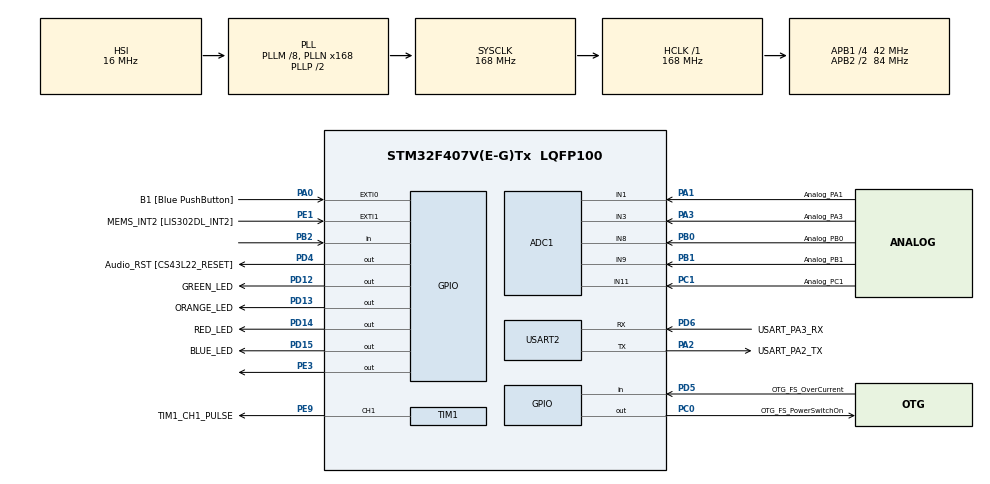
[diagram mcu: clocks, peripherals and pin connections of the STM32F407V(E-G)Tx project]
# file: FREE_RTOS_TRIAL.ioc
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ADC1.Channel-0\#ChannelRegularConversion=ADC_CHANNEL_1
ADC1.Channel-10\#ChannelRegularConversion=ADC_CHANNEL_8
ADC1.Channel-11\#ChannelRegularConversion=ADC_CHANNEL_9
ADC1.Channel-12\#ChannelRegularConversion=ADC_CHANNEL_11
ADC1.Channel-9\#ChannelRegularConversion=ADC_CHANNEL_3
ADC1.EOCSelection=ADC_EOC_SINGLE_CONV
ADC1.EnableAnalogWatchDog=false
ADC1.ExternalTrigConv=ADC_EXTERNALTRIGCONV_T1_CC1
ADC1.InjNumberOfConversion=0
ADC1.NbrOfConversion=5
ADC1.NbrOfConversionFlag=1
ADC1.Rank-0\#ChannelRegularConversion=1
ADC1.Rank-10\#ChannelRegularConversion=3
ADC1.Rank-11\#ChannelRegularConversion=4
ADC1.Rank-12\#ChannelRegularConversion=5
ADC1.Rank-9\#ChannelRegularConversion=2
ADC1.SamplingTime-0\#ChannelRegularConversion=ADC_SAMPLETIME_3CYCLES
ADC1.SamplingTime-10\#ChannelRegularConversion=ADC_SAMPLETIME_3CYCLES
ADC1.SamplingTime-11\#ChannelRegularConversion=ADC_SAMPLETIME_3CYCLES
ADC1.SamplingTime-12\#ChannelRegularConversion=ADC_SAMPLETIME_3CYCLES
ADC1.SamplingTime-9\#ChannelRegularConversion=ADC_SAMPLETIME_3CYCLES
ADC1.ScanConvMode=ENABLE
ADC1.master=1
Mcu.Family=STM32F4
Mcu.Name=STM32F407V(E-G)Tx
Mcu.Package=LQFP100
NVIC.ADC_IRQn=true\:0\:0\:false\:false\:true\:true\:true\:true
NVIC.EXTI0_IRQn=true\:5\:0\:true\:false\:true\:true\:true\:true
NVIC.PriorityGroup=NVIC_PRIORITYGROUP_4
NVIC.TIM1_CC_IRQn=true\:4\:0\:true\:false\:true\:true\:true\:true
NVIC.TIM6_DAC_IRQn=true\:15\:0\:true\:false\:true\:false\:true\:true
NVIC.TimeBase=TIM6_DAC_IRQn
NVIC.TimeBaseIP=TIM6
NVIC.USART2_IRQn=true\:0\:0\:false\:false\:true\:true\:true\:true
PA0-WKUP.GPIO_Label=B1 [Blue PushButton]
PA0-WKUP.Signal=GPXTI0
PA1.GPIO_Label=Analog_PA1
PA1.Signal=ADCx_IN1
PA10.GPIO_Label=OTG_FS_ID
PA10.GPIO_Mode=GPIO_MODE_AF_PP
PA10.GPIO_PuPd=GPIO_NOPULL
PA10.GPIO_Speed=GPIO_SPEED_FREQ_LOW
PA10.Signal=USB_OTG_FS_ID
PA11.GPIO_Label=OTG_FS_DM
PA11.GPIO_Mode=GPIO_MODE_AF_PP
PA11.GPIO_PuPd=GPIO_NOPULL
PA11.GPIO_Speed=GPIO_SPEED_FREQ_LOW
PA11.Signal=USB_OTG_FS_DM
PA12.GPIO_Label=OTG_FS_DP
PA12.GPIO_Mode=GPIO_MODE_AF_PP
PA12.GPIO_PuPd=GPIO_NOPULL
PA12.GPIO_Speed=GPIO_SPEED_FREQ_LOW
PA12.Signal=USB_OTG_FS_DP
PA13.GPIO_Label=SWDIO
PA13.Mode=Trace_Asynchronous_SW
PA13.Signal=SYS_JTMS-SWDIO
PA14.GPIO_Label=SWCLK
PA14.Mode=Trace_Asynchronous_SW
PA14.Signal=SYS_JTCK-SWCLK
PA2.GPIO_Label=USART_PA2_TX
PA2.Mode=Asynchronous
PA2.Signal=USART2_TX
PA3.GPIO_Label=Analog_PA3
PA3.Signal=ADCx_IN3
PA4.GPIO_Label=I2S3_WS [CS43L22_LRCK]
PA4.GPIO_Mode=GPIO_MODE_AF_PP
PA4.GPIO_PuPd=GPIO_NOPULL
PA4.GPIO_Speed=GPIO_SPEED_FREQ_LOW
PA4.Signal=I2S3_WS
PA5.GPIO_Label=SPI1_SCK [LIS302DL_SCL/SPC]
PA5.GPIO_Mode=GPIO_MODE_AF_PP
PA5.GPIO_PuPd=GPIO_NOPULL
PA5.GPIO_Speed=GPIO_SPEED_FREQ_LOW
PA5.Signal=SPI1_SCK
PA6.GPIO_Label=SPI1_MISO [LIS302DL_SDO]
PA6.GPIO_Mode=GPIO_MODE_AF_PP
PA6.GPIO_PuPd=GPIO_NOPULL
PA6.GPIO_Speed=GPIO_SPEED_FREQ_LOW
PA6.Signal=SPI1_MISO
PA7.GPIO_Label=SPI1_MOSI [LIS302DL_SDA/SDI/SDO]
PA7.GPIO_Mode=GPIO_MODE_AF_PP
PA7.GPIO_PuPd=GPIO_NOPULL
PA7.GPIO_Speed=GPIO_SPEED_FREQ_LOW
PA7.Signal=SPI1_MOSI
PA9.GPIO_Label=VBUS_FS
PA9.GPIO_Mode=GPIO_MODE_INPUT
PA9.GPIO_PuPd=GPIO_NOPULL
PA9.Signal=USB_OTG_FS_VBUS
PB0.GPIO_Label=Analog_PB0
PB0.Signal=ADCx_IN8
PB1.GPIO_Label=Analog_PB1
PB1.Signal=ADCx_IN9
PB10.GPIO_Label=CLK_IN [MP45DT02_CLK]
PB10.GPIO_Mode=GPIO_MODE_AF_PP
PB10.GPIO_PuPd=GPIO_NOPULL
PB10.GPIO_Speed=GPIO_SPEED_FREQ_LOW
PB10.Signal=I2S2_CK
PB2.Signal=GPIO_Input
PB3.GPIO_Label=SWO
PB3.Mode=Trace_Asynchronous_SW
PB3.Signal=SYS_JTDO-SWO
PB6.GPIO_Label=Audio_SCL [CS43L22_SCL]
PB6.GPIO_Mode=GPIO_MODE_AF_OD
PB6.GPIO_PuPd=GPIO_NOPULL
PB6.GPIO_Speed=GPIO_SPEED_FREQ_LOW
PB6.Signal=I2C1_SCL
PB9.GPIO_Label=Audio_SDA [CS43L22_SDA]
PB9.GPIO_Mode=GPIO_MODE_AF_OD
PB9.GPIO_PuPd=GPIO_NOPULL
PB9.GPIO_Speed=GPIO_SPEED_FREQ_LOW
PB9.Signal=I2C1_SDA
PC0.GPIO_Label=OTG_FS_PowerSwitchOn
PC0.GPIO_PuPd=GPIO_NOPULL
PC0.GPIO_Speed=GPIO_SPEED_FREQ_LOW
PC0.PinState=GPIO_PIN_SET
PC0.Signal=GPIO_Output
PC1.GPIO_Label=Analog_PC1
PC1.Signal=ADCx_IN11
PC10.GPIO_Label=I2S3_SCK [CS43L22_SCLK]
PC10.GPIO_Mode=GPIO_MODE_AF_PP
PC10.GPIO_PuPd=GPIO_NOPULL
PC10.GPIO_Speed=GPIO_SPEED_FREQ_LOW
PC10.Signal=I2S3_CK
PC12.GPIO_Label=I2S3_SD [CS43L22_SDIN]
PC12.GPIO_Mode=GPIO_MODE_AF_PP
PC12.GPIO_PuPd=GPIO_NOPULL
PC12.GPIO_Speed=GPIO_SPEED_FREQ_LOW
PC12.Signal=I2S3_SD
PC14-OSC32_IN.GPIO_Label=PC14-OSC32_IN
PC14-OSC32_IN.Signal=RCC_OSC32_IN
PC15-OSC32_OUT.GPIO_Label=PC15-OSC32_OUT
PC15-OSC32_OUT.Signal=RCC_OSC32_OUT
PC3.GPIO_Label=PDM_OUT [MP45DT02_DOUT]
PC3.GPIO_Mode=GPIO_MODE_AF_PP
PC3.GPIO_PuPd=GPIO_NOPULL
PC3.GPIO_Speed=GPIO_SPEED_FREQ_LOW
PC3.Signal=I2S2_SD
PC7.GPIO_Label=I2S3_MCK [CS43L22_MCLK]
PC7.GPIO_Mode=GPIO_MODE_AF_PP
PC7.GPIO_PuPd=GPIO_NOPULL
PC7.GPIO_Speed=GPIO_SPEED_FREQ_LOW
PC7.Signal=I2S3_MCK
PD12.GPIO_Label=GREEN_LED
PD12.GPIO_PuPd=GPIO_NOPULL
PD12.GPIO_Speed=GPIO_SPEED_FREQ_LOW
PD12.Signal=GPIO_Output
PD13.GPIO_Label=ORANGE_LED
PD13.GPIO_PuPd=GPIO_NOPULL
PD13.GPIO_Speed=GPIO_SPEED_FREQ_LOW
PD13.Signal=GPIO_Output
PD14.GPIO_Label=RED_LED
PD14.GPIO_PuPd=GPIO_NOPULL
PD14.GPIO_Speed=GPIO_SPEED_FREQ_LOW
PD14.Signal=GPIO_Output
PD15.GPIO_Label=BLUE_LED
PD15.GPIO_PuPd=GPIO_NOPULL
PD15.GPIO_Speed=GPIO_SPEED_FREQ_LOW
PD15.Signal=GPIO_Output
PD4.GPIO_Label=Audio_RST [CS43L22_RESET]
PD4.GPIO_PuPd=GPIO_NOPULL
PD4.GPIO_Speed=GPIO_SPEED_FREQ_LOW
PD4.Signal=GPIO_Output
PD5.GPIO_Label=OTG_FS_OverCurrent
PD5.GPIO_Mode=GPIO_MODE_INPUT
PD5.GPIO_PuPd=GPIO_NOPULL
PD5.Signal=GPIO_Input
PD6.GPIO_Label=USART_PA3_RX
PD6.Mode=Asynchronous
PD6.Signal=USART2_RX
PE1.GPIO_Label=MEMS_INT2 [LIS302DL_INT2]
PE1.GPIO_ModeDefaultEXTI=GPIO_MODE_EVT_RISING
PE1.GPIO_PuPd=GPIO_NOPULL
PE1.Signal=GPXTI1
PE3.Signal=GPIO_Output
PE9.GPIO_Label=TIM1_CH1_PULSE
PE9.Signal=S_TIM1_CH1
PH0-OSC_IN.GPIO_Label=PH0-OSC_IN
PH0-OSC_IN.Signal=RCC_OSC_IN
PH1-OSC_OUT.GPIO_Label=PH1-OSC_OUT
PH1-OSC_OUT.Signal=RCC_OSC_OUT
ProjectManager.HeapSize=0x200
ProjectManager.StackSize=0x400
ProjectManager.TargetToolchain=MDK-ARM V5.32
RCC.48MHZClocksFreq_Value=48000000
RCC.AHBFreq_Value=168000000
RCC.APB1CLKDivider=RCC_HCLK_DIV4
RCC.APB1Freq_Value=42000000
RCC.APB1TimFreq_Value=84000000
RCC.APB2CLKDivider=RCC_HCLK_DIV2
RCC.APB2Freq_Value=84000000
RCC.APB2TimFreq_Value=168000000
RCC.CortexFreq_Value=168000000
RCC.HCLKFreq_Value=168000000
RCC.HSE_VALUE=8000000
RCC.HSI_VALUE=16000000
RCC.LSE_VALUE=32768
RCC.PLLM=8
RCC.PLLN=168
RCC.PLLQ=7
RCC.SYSCLKFreq_VALUE=168000000
RCC.SYSCLKSource=RCC_SYSCLKSOURCE_PLLCLK
RCC.VCOOutputFreq_Value=336000000
SH.ADCx_IN1.0=ADC1_IN1,IN1
SH.ADCx_IN11.0=ADC1_IN11,IN11
SH.ADCx_IN3.0=ADC1_IN3,IN3
SH.ADCx_IN8.0=ADC1_IN8,IN8
SH.ADCx_IN9.0=ADC1_IN9,IN9
SH.S_TIM1_CH1.0=TIM1_CH1,Output Compare1 CH1
TIM1.Channel-Output\ Compare1\ CH1=TIM_CHANNEL_1
TIM1.OCMode_1=TIM_OCMODE_TOGGLE
TIM1.Period=10000
TIM1.Prescaler=84-1
TIM1.TIM_MasterOutputTrigger=TIM_TRGO_OC1REF
USART2.VirtualMode=VM_ASYNC
VP_SYS_VS_tim6.Mode=TIM6
board=STM32F407G-DISC1

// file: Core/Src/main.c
/* USER CODE BEGIN Header */
/**
  ******************************************************************************
  * @file           : main.c
  * @brief          : Main program body
  ******************************************************************************
  * @attention
  *
  * Copyright (c) 2025 STMicroelectronics.
  * All rights reserved.
  *
  * This software is licensed under terms that can be found in the LICENSE file
  * in the root directory of this software component.
  * If no LICENSE file comes with this software, it is provided AS-IS.
  *
  ******************************************************************************
  */
/* USER CODE END Header */
#include "main.h"

/* USER CODE BEGIN Includes */
// Standard includes
#include "stdio.h"
#include "string.h"
#include "stdbool.h"
#include "stdlib.h"
// Project-related includes
#include "murmurhash.h"
#include "FreeRTOS.h"
#include "task.h"
#include "semphr.h"
#include "queue.h"
#include "sensor_data_acquisition_strategy.h"

/* USER CODE END Includes */

/* USER CODE BEGIN PD */
#define START_STACKING 0x2000A9D0
#define USE_FREERTOS

#define ACQUIRE_SPINLOCK(spin_lock_flag)  while(__atomic_test_and_set (&(spin_lock_flag), __ATOMIC_ACQUIRE)) {}
#define RELEASE_SPIN_LOCK(spin_lock_flag) __atomic_clear (&spin_lock_flag, __ATOMIC_RELEASE)

/* USER CODE END PD */

ADC_HandleTypeDef hadc1;

TIM_HandleTypeDef htim1;

UART_HandleTypeDef huart2;

/* USER CODE BEGIN PV */
char *msg1 = "Asif ikbalNigdi\r\n";
char *key = "abra ka dabra";
uint32_t seed = 0xABCDEF12;
static uint32_t hash;
uint8_t rxbyte[2];

volatile uint32_t atomic_counter = 0;
volatile uint32_t non_atomic_counter = 0;
volatile bool spin_lock_flag = 0;

//Testing uninitialized global pointer
uint32_t *pu32_test_global;

SemaphoreHandle_t xMutex;
SemaphoreHandle_t xPrintfMutex;

stCircuarQueue_t     st_Sensor_Data_Queue;
uint8_t              u8arr_packet [200]; // to acquire sensors data
/* USER CODE END PV */

void SystemClock_Config(void);
static void MX_GPIO_Init(void);
static void MX_USART2_UART_Init(void);
static void MX_ADC1_Init(void);
static void MX_TIM1_Init(void);
/* USER CODE BEGIN PFP */
void vTaskLow(void *pv);
void vTaskMedium(void *pv);
void vTaskHigh(void *pv);

void vTaskTest_1(void *pv);
void vTaskTest_2(void *pv);

void vTask_SpinLock_1 (void *pv);
void vTask_SpinLock_2 (void *pv);

void do_long_work_xsec(uint32_t x);
void check_stack_overflow_at75_watermark (void);
void create_stack_overflow (void);

void vTask_Broadcast_Sensors_Data (void *pv);
/* USER CODE END PFP */

/* USER CODE BEGIN 0 */
extern  uint32_t u32_atomic_inc(volatile uint32_t *addr);

/* USER CODE END 0 */

int main(void)
{

  /* USER CODE BEGIN 1 */
  //printf("In main\n");
  uint32_t *stack_start = (uint32_t*)START_STACKING;
  uint32_t *stack_watermark75_1KB = NULL;

	// Disable all maskable interrupts globally
  __disable_irq();

  stack_watermark75_1KB = stack_start - 192; // water mark at 75% of 1KB stack
  *stack_watermark75_1KB = 0xDEADBEEF;

	// Create mutex
  xMutex = xSemaphoreCreateMutex(); // Supports Priority Inheritance
  //xMutex = xSemaphoreCreateBinary(); // Does NOT supports Priority Inheritance

  if (xMutex == NULL)
  {
    // Error: not enough heap
    printf("Synchronization object (mutex/semaphore) not created!!\n");
    while(1);
  }

  // switch (xMutex->ucQueueType) // defined in queue.c thus cant not access member ofxMutex by forward definition.
  // {
  //   case queueQUEUE_TYPE_BINARY_SEMAPHORE:
  //     printf ("Binary semaphore created!\n");
  //     break;

  //   case queueQUEUE_TYPE_COUNTING_SEMAPHORE :
  //     printf ("Counting semaphore created!\n");
  //     break;

  //   case queueQUEUE_TYPE_MUTEX:
  //     printf ("Mutex created!\n");
  //     break;

  //   case queueQUEUE_TYPE_RECURSIVE_MUTEX:
  //     printf ("Recursive mutex created!\n");
  //     break;

  //   default:
  //     break;
  // }

  // Make the semaphore **available initially** -- Mutex is bydefault available
  // if (queueQUEUE_TYPE_BINARY_SEMAPHORE == xMutex->ucQueueType)
  // {
  //   xSemaphoreGive(xMutex);
  // }

  /* USER CODE END 1 */

  /* MCU Configuration--------------------------------------------------------*/

  /* Reset of all peripherals, Initializes the Flash interface and the Systick. */
  HAL_Init();

  /* Configure the system clock */
  SystemClock_Config();

  /* USER CODE BEGIN SysInit */
  printf("In main\n");

  /* USER CODE END SysInit */

  /* Initialize all configured peripherals */
  MX_GPIO_Init();
  MX_USART2_UART_Init();
  MX_ADC1_Init();
  MX_TIM1_Init();
  /* USER CODE BEGIN 2 */
	//HAL_UART_Receive_IT(&huart2, rxbyte, 2); // Notify me when ONE byte arrives into the RDR/DR register
	huart2.Instance->CR1 |= (USART_CR1_RE | USART_CR1_RXNEIE);

	// Atomic increment of variables
	u32_atomic_inc(&atomic_counter);

  // Initialize the sensor data acquisition circular queue
  v_Sensor_Data_Queue_Init ( &st_Sensor_Data_Queue );

	// Non-cryptographic hash function
	hash = murmurhash (key, strlen(key), seed);

	// Create FreeRTOS OBJECTS
	xPrintfMutex = xSemaphoreCreateMutex();

	// Tasks creation
  //  xTaskCreate(vTaskLow, "Low", 256, NULL, 1, NULL);
	//  xTaskCreate(vTaskMedium, "Med", 256, NULL, 2, NULL);
	//  xTaskCreate(vTaskHigh, "High", 256, NULL, 3, NULL);

   //xTaskCreate(vTaskTest_1, "vTaskTest_1", 256, NULL, 3, NULL);
   //xTaskCreate(vTaskTest_2, "vTaskTest_2", 256, NULL, 3, NULL);

   xTaskCreate(vTask_SpinLock_1, "vTask_SpinLock_1", 256, NULL, 1, NULL);
   xTaskCreate(vTask_SpinLock_2, "vTask_SpinLock_2", 256, NULL, 2, NULL);

   xTaskCreate(vTask_Broadcast_Sensors_Data, "vTask_Broadcast_Sensors_Data", 256, NULL, 2, NULL);

   // Re-enable all interrupts globally
   __enable_irq();

   // Application code
     //Testing uninitialized local pointer
  // uint32_t *pu32_test_local;
  // printf("Uninitialized local pointer pu32_test = %p\n", pu32_test_local);

  // printf("Uninitialized global pointer pu32_test = %p\n", pu32_test_global);

  // Allocate some memory dynamically
  // uint8_t *pu8_mem_alloc = (uint8_t*)malloc(10);
  // memset(pu8_mem_alloc, 0xAA, 10);
  // free (pu8_mem_alloc);

  // printf("Dynamically allocated memory address = %u\n", *pu8_mem_alloc);

  // pu8_mem_alloc = NULL;

  // printf("Dynamically allocated memory address = %u\n", *pu8_mem_alloc);

  // Start TIMER 1 in output compare (OC) mode
  HAL_TIM_OC_Start_IT (&htim1, TIM_CHANNEL_1);
  HAL_ADC_Start_IT (&hadc1);

	 // Start the FreeRTOS scheduler
	 //vTaskStartScheduler();

  /* USER CODE END 2 */

  /* Infinite loop */
  while (1)
  {

  }
}

void SystemClock_Config(void)
{
  RCC_OscInitTypeDef RCC_OscInitStruct = {0};
  RCC_ClkInitTypeDef RCC_ClkInitStruct = {0};

  /** Configure the main internal regulator output voltage
  */
  __HAL_RCC_PWR_CLK_ENABLE();
  __HAL_PWR_VOLTAGESCALING_CONFIG(PWR_REGULATOR_VOLTAGE_SCALE1);

  /** Initializes the RCC Oscillators according to the specified parameters
  * in the RCC_OscInitTypeDef structure.
  */
  RCC_OscInitStruct.OscillatorType = RCC_OSCILLATORTYPE_HSI;
  RCC_OscInitStruct.HSIState = RCC_HSI_ON;
  RCC_OscInitStruct.HSICalibrationValue = RCC_HSICALIBRATION_DEFAULT;
  RCC_OscInitStruct.PLL.PLLState = RCC_PLL_ON;
  RCC_OscInitStruct.PLL.PLLSource = RCC_PLLSOURCE_HSI;
  RCC_OscInitStruct.PLL.PLLM = 8;
  RCC_OscInitStruct.PLL.PLLN = 168;
  RCC_OscInitStruct.PLL.PLLP = RCC_PLLP_DIV2;
  RCC_OscInitStruct.PLL.PLLQ = 7;
  if (HAL_RCC_OscConfig(&RCC_OscInitStruct) != HAL_OK)
  {
    Error_Handler();
  }

  /** Initializes the CPU, AHB and APB buses clocks
  */
  RCC_ClkInitStruct.ClockType = RCC_CLOCKTYPE_HCLK|RCC_CLOCKTYPE_SYSCLK
                              |RCC_CLOCKTYPE_PCLK1|RCC_CLOCKTYPE_PCLK2;
  RCC_ClkInitStruct.SYSCLKSource = RCC_SYSCLKSOURCE_PLLCLK;
  RCC_ClkInitStruct.AHBCLKDivider = RCC_SYSCLK_DIV1;
  RCC_ClkInitStruct.APB1CLKDivider = RCC_HCLK_DIV4;
  RCC_ClkInitStruct.APB2CLKDivider = RCC_HCLK_DIV2;

  if (HAL_RCC_ClockConfig(&RCC_ClkInitStruct, FLASH_LATENCY_5) != HAL_OK)
  {
    Error_Handler();
  }
}

static void MX_ADC1_Init(void)
{

  ADC_ChannelConfTypeDef sConfig = {0};

  /** Configure the global features of the ADC (Clock, Resolution, Data Alignment and number of conversion)
  */
  hadc1.Instance = ADC1;
  hadc1.Init.ClockPrescaler = ADC_CLOCK_SYNC_PCLK_DIV4;
  hadc1.Init.Resolution = ADC_RESOLUTION_12B;
  hadc1.Init.ScanConvMode = ENABLE;
  hadc1.Init.ContinuousConvMode = DISABLE;
  hadc1.Init.DiscontinuousConvMode = DISABLE;
  hadc1.Init.ExternalTrigConvEdge = ADC_EXTERNALTRIGCONVEDGE_RISING;
  hadc1.Init.ExternalTrigConv = ADC_EXTERNALTRIGCONV_T1_CC1;
  hadc1.Init.DataAlign = ADC_DATAALIGN_RIGHT;
  hadc1.Init.NbrOfConversion = 5;
  hadc1.Init.DMAContinuousRequests = DISABLE;
  hadc1.Init.EOCSelection = ADC_EOC_SINGLE_CONV;
  if (HAL_ADC_Init(&hadc1) != HAL_OK)
  {
    Error_Handler();
  }

  /** Configure for the selected ADC regular channel its corresponding rank in the sequencer and its sample time.
  */
  sConfig.Channel = ADC_CHANNEL_1;
  sConfig.Rank = 1;
  sConfig.SamplingTime = ADC_SAMPLETIME_3CYCLES;
  if (HAL_ADC_ConfigChannel(&hadc1, &sConfig) != HAL_OK)
  {
    Error_Handler();
  }

  /** Configure for the selected ADC regular channel its corresponding rank in the sequencer and its sample time.
  */
  sConfig.Channel = ADC_CHANNEL_3;
  sConfig.Rank = 2;
  if (HAL_ADC_ConfigChannel(&hadc1, &sConfig) != HAL_OK)
  {
    Error_Handler();
  }

  /** Configure for the selected ADC regular channel its corresponding rank in the sequencer and its sample time.
  */
  sConfig.Channel = ADC_CHANNEL_8;
  sConfig.Rank = 3;
  if (HAL_ADC_ConfigChannel(&hadc1, &sConfig) != HAL_OK)
  {
    Error_Handler();
  }

  /** Configure for the selected ADC regular channel its corresponding rank in the sequencer and its sample time.
  */
  sConfig.Channel = ADC_CHANNEL_9;
  sConfig.Rank = 4;
  if (HAL_ADC_ConfigChannel(&hadc1, &sConfig) != HAL_OK)
  {
    Error_Handler();
  }

  /** Configure for the selected ADC regular channel its corresponding rank in the sequencer and its sample time.
  */
  sConfig.Channel = ADC_CHANNEL_11;
  sConfig.Rank = 5;
  if (HAL_ADC_ConfigChannel(&hadc1, &sConfig) != HAL_OK)
  {
    Error_Handler();
  }

}

static void MX_TIM1_Init(void)
{

  TIM_MasterConfigTypeDef sMasterConfig = {0};
  TIM_OC_InitTypeDef sConfigOC = {0};
  TIM_BreakDeadTimeConfigTypeDef sBreakDeadTimeConfig = {0};

  htim1.Instance = TIM1;
  htim1.Init.Prescaler = 84-1;
  htim1.Init.CounterMode = TIM_COUNTERMODE_UP;
  htim1.Init.Period = 10000;
  htim1.Init.ClockDivision = TIM_CLOCKDIVISION_DIV1;
  htim1.Init.RepetitionCounter = 0;
  htim1.Init.AutoReloadPreload = TIM_AUTORELOAD_PRELOAD_DISABLE;
  if (HAL_TIM_OC_Init(&htim1) != HAL_OK)
  {
    Error_Handler();
  }
  sMasterConfig.MasterOutputTrigger = TIM_TRGO_OC1REF;
  sMasterConfig.MasterSlaveMode = TIM_MASTERSLAVEMODE_DISABLE;
  if (HAL_TIMEx_MasterConfigSynchronization(&htim1, &sMasterConfig) != HAL_OK)
  {
    Error_Handler();
  }
  sConfigOC.OCMode = TIM_OCMODE_TOGGLE;
  sConfigOC.Pulse = 0;
  sConfigOC.OCPolarity = TIM_OCPOLARITY_HIGH;
  sConfigOC.OCNPolarity = TIM_OCNPOLARITY_HIGH;
  sConfigOC.OCFastMode = TIM_OCFAST_DISABLE;
  sConfigOC.OCIdleState = TIM_OCIDLESTATE_RESET;
  sConfigOC.OCNIdleState = TIM_OCNIDLESTATE_RESET;
  if (HAL_TIM_OC_ConfigChannel(&htim1, &sConfigOC, TIM_CHANNEL_1) != HAL_OK)
  {
    Error_Handler();
  }
  sBreakDeadTimeConfig.OffStateRunMode = TIM_OSSR_DISABLE;
  sBreakDeadTimeConfig.OffStateIDLEMode = TIM_OSSI_DISABLE;
  sBreakDeadTimeConfig.LockLevel = TIM_LOCKLEVEL_OFF;
  sBreakDeadTimeConfig.DeadTime = 0;
  sBreakDeadTimeConfig.BreakState = TIM_BREAK_DISABLE;
  sBreakDeadTimeConfig.BreakPolarity = TIM_BREAKPOLARITY_HIGH;
  sBreakDeadTimeConfig.AutomaticOutput = TIM_AUTOMATICOUTPUT_DISABLE;
  if (HAL_TIMEx_ConfigBreakDeadTime(&htim1, &sBreakDeadTimeConfig) != HAL_OK)
  {
    Error_Handler();
  }
  HAL_TIM_MspPostInit(&htim1);

}

static void MX_USART2_UART_Init(void)
{

  huart2.Instance = USART2;
  huart2.Init.BaudRate = 115200;
  huart2.Init.WordLength = UART_WORDLENGTH_8B;
  huart2.Init.StopBits = UART_STOPBITS_1;
  huart2.Init.Parity = UART_PARITY_NONE;
  huart2.Init.Mode = UART_MODE_TX_RX;
  huart2.Init.HwFlowCtl = UART_HWCONTROL_NONE;
  huart2.Init.OverSampling = UART_OVERSAMPLING_16;
  if (HAL_UART_Init(&huart2) != HAL_OK)
  {
    Error_Handler();
  }

}

static void MX_GPIO_Init(void)
{
  GPIO_InitTypeDef GPIO_InitStruct = {0};

  /* GPIO Ports Clock Enable */
  __HAL_RCC_GPIOE_CLK_ENABLE();
  __HAL_RCC_GPIOC_CLK_ENABLE();
  __HAL_RCC_GPIOH_CLK_ENABLE();
  __HAL_RCC_GPIOA_CLK_ENABLE();
  __HAL_RCC_GPIOB_CLK_ENABLE();
  __HAL_RCC_GPIOD_CLK_ENABLE();

  /*Configure GPIO pin Output Level */
  HAL_GPIO_WritePin(GPIOE, GPIO_PIN_3, GPIO_PIN_RESET);

  /*Configure GPIO pin Output Level */
  HAL_GPIO_WritePin(OTG_FS_PowerSwitchOn_GPIO_Port, OTG_FS_PowerSwitchOn_Pin, GPIO_PIN_SET);

  /*Configure GPIO pin Output Level */
  HAL_GPIO_WritePin(GPIOD, GREEN_LED_Pin|ORANGE_LED_Pin|RED_LED_Pin|BLUE_LED_Pin
                          |Audio_RST_Pin, GPIO_PIN_RESET);

  /*Configure GPIO pin : PE3 */
  GPIO_InitStruct.Pin = GPIO_PIN_3;
  GPIO_InitStruct.Mode = GPIO_MODE_OUTPUT_PP;
  GPIO_InitStruct.Pull = GPIO_NOPULL;
  GPIO_InitStruct.Speed = GPIO_SPEED_FREQ_LOW;
  HAL_GPIO_Init(GPIOE, &GPIO_InitStruct);

  /*Configure GPIO pin : OTG_FS_PowerSwitchOn_Pin */
  GPIO_InitStruct.Pin = OTG_FS_PowerSwitchOn_Pin;
  GPIO_InitStruct.Mode = GPIO_MODE_OUTPUT_PP;
  GPIO_InitStruct.Pull = GPIO_NOPULL;
  GPIO_InitStruct.Speed = GPIO_SPEED_FREQ_LOW;
  HAL_GPIO_Init(OTG_FS_PowerSwitchOn_GPIO_Port, &GPIO_InitStruct);

  /*Configure GPIO pin : PDM_OUT_Pin */
  GPIO_InitStruct.Pin = PDM_OUT_Pin;
  GPIO_InitStruct.Mode = GPIO_MODE_AF_PP;
  GPIO_InitStruct.Pull = GPIO_NOPULL;
  GPIO_InitStruct.Speed = GPIO_SPEED_FREQ_LOW;
  GPIO_InitStruct.Alternate = GPIO_AF5_SPI2;
  HAL_GPIO_Init(PDM_OUT_GPIO_Port, &GPIO_InitStruct);

  /*Configure GPIO pin : B1_Pin */
  GPIO_InitStruct.Pin = B1_Pin;
  GPIO_InitStruct.Mode = GPIO_MODE_IT_RISING;
  GPIO_InitStruct.Pull = GPIO_NOPULL;
  HAL_GPIO_Init(B1_GPIO_Port, &GPIO_InitStruct);

  /*Configure GPIO pin : I2S3_WS_Pin */
  GPIO_InitStruct.Pin = I2S3_WS_Pin;
  GPIO_InitStruct.Mode = GPIO_MODE_AF_PP;
  GPIO_InitStruct.Pull = GPIO_NOPULL;
  GPIO_InitStruct.Speed = GPIO_SPEED_FREQ_LOW;
  GPIO_InitStruct.Alternate = GPIO_AF6_SPI3;
  HAL_GPIO_Init(I2S3_WS_GPIO_Port, &GPIO_InitStruct);

  /*Configure GPIO pins : SPI1_SCK_Pin SPI1_MISO_Pin SPI1_MOSI_Pin */
  GPIO_InitStruct.Pin = SPI1_SCK_Pin|SPI1_MISO_Pin|SPI1_MOSI_Pin;
  GPIO_InitStruct.Mode = GPIO_MODE_AF_PP;
  GPIO_InitStruct.Pull = GPIO_NOPULL;
  GPIO_InitStruct.Speed = GPIO_SPEED_FREQ_LOW;
  GPIO_InitStruct.Alternate = GPIO_AF5_SPI1;
  HAL_GPIO_Init(GPIOA, &GPIO_InitStruct);

  /*Configure GPIO pin : PB2 */
  GPIO_InitStruct.Pin = GPIO_PIN_2;
  GPIO_InitStruct.Mode = GPIO_MODE_INPUT;
  GPIO_InitStruct.Pull = GPIO_NOPULL;
  HAL_GPIO_Init(GPIOB, &GPIO_InitStruct);

  /*Configure GPIO pin : CLK_IN_Pin */
  GPIO_InitStruct.Pin = CLK_IN_Pin;
  GPIO_InitStruct.Mode = GPIO_MODE_AF_PP;
  GPIO_InitStruct.Pull = GPIO_NOPULL;
  GPIO_InitStruct.Speed = GPIO_SPEED_FREQ_LOW;
  GPIO_InitStruct.Alternate = GPIO_AF5_SPI2;
  HAL_GPIO_Init(CLK_IN_GPIO_Port, &GPIO_InitStruct);

  /*Configure GPIO pins : GREEN_LED_Pin ORANGE_LED_Pin RED_LED_Pin BLUE_LED_Pin
                           Audio_RST_Pin */
  GPIO_InitStruct.Pin = GREEN_LED_Pin|ORANGE_LED_Pin|RED_LED_Pin|BLUE_LED_Pin
                          |Audio_RST_Pin;
  GPIO_InitStruct.Mode = GPIO_MODE_OUTPUT_PP;
  GPIO_InitStruct.Pull = GPIO_NOPULL;
  GPIO_InitStruct.Speed = GPIO_SPEED_FREQ_LOW;
  HAL_GPIO_Init(GPIOD, &GPIO_InitStruct);

  /*Configure GPIO pins : I2S3_MCK_Pin I2S3_SCK_Pin I2S3_SD_Pin */
  GPIO_InitStruct.Pin = I2S3_MCK_Pin|I2S3_SCK_Pin|I2S3_SD_Pin;
  GPIO_InitStruct.Mode = GPIO_MODE_AF_PP;
  GPIO_InitStruct.Pull = GPIO_NOPULL;
  GPIO_InitStruct.Speed = GPIO_SPEED_FREQ_LOW;
  GPIO_InitStruct.Alternate = GPIO_AF6_SPI3;
  HAL_GPIO_Init(GPIOC, &GPIO_InitStruct);

  /*Configure GPIO pin : VBUS_FS_Pin */
  GPIO_InitStruct.Pin = VBUS_FS_Pin;
  GPIO_InitStruct.Mode = GPIO_MODE_INPUT;
  GPIO_InitStruct.Pull = GPIO_NOPULL;
  HAL_GPIO_Init(VBUS_FS_GPIO_Port, &GPIO_InitStruct);

  /*Configure GPIO pins : OTG_FS_ID_Pin OTG_FS_DM_Pin OTG_FS_DP_Pin */
  GPIO_InitStruct.Pin = OTG_FS_ID_Pin|OTG_FS_DM_Pin|OTG_FS_DP_Pin;
  GPIO_InitStruct.Mode = GPIO_MODE_AF_PP;
  GPIO_InitStruct.Pull = GPIO_NOPULL;
  GPIO_InitStruct.Speed = GPIO_SPEED_FREQ_LOW;
  GPIO_InitStruct.Alternate = GPIO_AF10_OTG_FS;
  HAL_GPIO_Init(GPIOA, &GPIO_InitStruct);

  /*Configure GPIO pin : OTG_FS_OverCurrent_Pin */
  GPIO_InitStruct.Pin = OTG_FS_OverCurrent_Pin;
  GPIO_InitStruct.Mode = GPIO_MODE_INPUT;
  GPIO_InitStruct.Pull = GPIO_NOPULL;
  HAL_GPIO_Init(OTG_FS_OverCurrent_GPIO_Port, &GPIO_InitStruct);

  /*Configure GPIO pins : Audio_SCL_Pin Audio_SDA_Pin */
  GPIO_InitStruct.Pin = Audio_SCL_Pin|Audio_SDA_Pin;
  GPIO_InitStruct.Mode = GPIO_MODE_AF_OD;
  GPIO_InitStruct.Pull = GPIO_NOPULL;
  GPIO_InitStruct.Speed = GPIO_SPEED_FREQ_LOW;
  GPIO_InitStruct.Alternate = GPIO_AF4_I2C1;
  HAL_GPIO_Init(GPIOB, &GPIO_InitStruct);

  /*Configure GPIO pin : MEMS_INT2_Pin */
  GPIO_InitStruct.Pin = MEMS_INT2_Pin;
  GPIO_InitStruct.Mode = GPIO_MODE_EVT_RISING;
  GPIO_InitStruct.Pull = GPIO_NOPULL;
  HAL_GPIO_Init(MEMS_INT2_GPIO_Port, &GPIO_InitStruct);

  /* EXTI interrupt init*/
  HAL_NVIC_SetPriority(EXTI0_IRQn, 5, 0);
  HAL_NVIC_EnableIRQ(EXTI0_IRQn);

}

/* USER CODE BEGIN 4 */
#ifdef USE_FREERTOS

/*------------------------------------------------------------------------------
**********   Different Tasks related to FreeRTOS Applications ******************
--------------------------------------------------------------------------------*/
void vTaskTest_1(void *pv)
{
    while(1)
    {
        // non_atomic_counter = non_atomic_counter + 1;
        atomic_counter = u32_atomic_inc(&atomic_counter);

				xSemaphoreTake(xPrintfMutex, portMAX_DELAY);
        // printf("T1 = %d\n", non_atomic_counter);
        printf("T1 = %d\n", atomic_counter);
				xSemaphoreGive(xPrintfMutex);
    }
}

void vTaskTest_2(void *pv)
{
    while(1)
    {
        //non_atomic_counter = non_atomic_counter + 1;
        atomic_counter = u32_atomic_inc(&atomic_counter);

				xSemaphoreTake(xPrintfMutex, portMAX_DELAY);
        //printf("T2 = %d\n", non_atomic_counter);
        printf("T2 = %d\n", atomic_counter);
			  xSemaphoreGive(xPrintfMutex);
    }
}

void vTaskLow(void *pv)
{
    while(1)
    {
        printf("Low: Going to take mutex\n");
        xSemaphoreTake(xMutex, portMAX_DELAY);
        printf("Low: Took mutex, doing long work\n");
        HAL_GPIO_TogglePin(ORANGE_LED_GPIO_Port, ORANGE_LED_Pin); // Orange LED

        // Simulate long operation
        //vTaskDelay(pdMS_TO_TICKS(3000));
        do_long_work_xsec(1u); // scheduler will not block this task (NOT GETTING cpu TO ELEAPSE THIS)

        printf("Low: Releasing mutex\n");
        xSemaphoreGive(xMutex);

        vTaskDelay(pdMS_TO_TICKS(1000));
    }
}

void vTaskMedium(void *pv)
{
    while(1)
    {
        printf("Medium: Running\n");
        // Busy loop to burn CPU
        //for (volatile uint32_t i = 0; i < 1000000; i++);
        HAL_GPIO_TogglePin(GREEN_LED_GPIO_Port, GREEN_LED_Pin); // Green LED
        vTaskDelay(pdMS_TO_TICKS(510));
    }
}

void vTaskHigh(void *pv)
{
    vTaskDelay(pdMS_TO_TICKS(500)); // Ensure Low holds mutex first

    while(1)
    {
      printf("High: Trying to take mutex\n");
      xSemaphoreTake(xMutex, portMAX_DELAY);
      printf("High: Took mutex\n");
      HAL_GPIO_TogglePin(RED_LED_GPIO_Port, RED_LED_Pin); // Red LED

      xSemaphoreGive(xMutex);
      printf("High: Released mutex\n");
      vTaskDelay(pdMS_TO_TICKS(1000));
    }

    while(1);
}

void vTask_SpinLock_1 (void *pv)
{
  while(1)
  {
    printf("SpinLock_Task_1 acquiring lock\n");
    ACQUIRE_SPINLOCK(spin_lock_flag);
    vTaskDelay(pdMS_TO_TICKS(50));
    printf("SpinLock_Task_1 releasing lock\n");
    RELEASE_SPIN_LOCK(spin_lock_flag);
  }

}

void vTask_SpinLock_2 (void *pv)
{

  while(1)
  {
    vTaskDelay(pdMS_TO_TICKS(5));
    printf("SpinLock_Task_2 acquiring lock\n");
    ACQUIRE_SPINLOCK(spin_lock_flag);
    vTaskDelay(pdMS_TO_TICKS(100));
    printf("SpinLock_Task_2 releasing lock\n");
    RELEASE_SPIN_LOCK(spin_lock_flag);
  }

}

void vTask_Broadcast_Sensors_Data (void *pv)
{
  uint16_t u16_packet_size = 0;
  const TickType_t xPeriod = pdMS_TO_TICKS(10); // 10 ms
  TickType_t xLastWakeTime = xTaskGetTickCount();

  while(1)
  {
    // Form a data packet of maximum 200 bytes
    u16_packet_size = ePacket_Formation(); // Consumes circular queue eleme
    // Send the datat packet to MCU2
    if (u16_packet_size)
    {
     // while ( send_data_to_mcu2(u8arr_packet, u16_packet_size) != COMM_STATUS_SUCCESS );
    }

    vTaskDelayUntil(&xLastWakeTime, xPeriod);
  }
}
/*------------------------------------------------------------------------------
**********   Different Hooks related to FreeRTOS Applications ******************
--------------------------------------------------------------------------------*/

void vApplicationMallocFailedHook( void )
{
	/* This function will only be called if an API call to create a task, queue
	or semaphore fails because there is too little heap RAM remaining. */
	for( ;; );
}

void vApplicationStackOverflowHook( xTaskHandle *pxTask, signed char *pcTaskName )
{
 /* This function will only be called if a task overflows its stack. Note
 that stack overflow checking does slow down the context switch
 implementation. */
  while(1)
  {
    __asm volatile( "NOP" );
  }
}

void vApplicationIdleHook( void )
{
		/* This function will only be called if there is no other active task to run */
	while(1)
  {
    __asm volatile( "NOP" );
		//HAL_WWDG_Refresh(&hwwdg);
  }
}

void vApplicationTickHook( void )
{
	/* This example does not use the tick hook to perform any processing. */
}

#endif

/********* Some miscellaneous functionalities *********************************/
void do_long_work_xsec(uint32_t x)
{
    TickType_t start = xTaskGetTickCount();

    while ((xTaskGetTickCount() - start) < pdMS_TO_TICKS(x*1000))
    {
        // Burn CPU
        __NOP();
    }
}

void check_stack_overflow_at75_watermark (void)
{
  uint32_t *stack_start = (uint32_t*)START_STACKING;
  uint32_t *stack_watermark75_1KB = NULL;

  uint32_t check_mark_stack;

  stack_watermark75_1KB = stack_start - 192; // water mark at 75% of 1KB stack

  check_mark_stack = *stack_watermark75_1KB;

  if ( check_mark_stack != 0xDEADBEEF)
  {
    printf("Stack crosses 75 percentage boundary");
  }

}

void create_stack_overflow (void)
{
  int arr[240] = {0};

  for (int i=0; i<240; i++)
  {
    arr[i] = 5;
  }

  arr[0]++;
  //create_stack_overflow();
}

/************** Callback of an event ******/

/**
  * @brief  Data receive callback on UART
  * @note   This function is called  when requested number of bytes are received over UART.
  * @param  huart : UART handle ( this can differentiate the UART channels from which we are
  *         having interrupt.
  * @retval None
*/
void HAL_UART_RxCpltCallback(UART_HandleTypeDef *huart)
{
    //process(rx_byte);

    // Critical: restart the interrupt for the next request
    HAL_UART_Receive_IT(huart, rxbyte, 2);
}

/**
  * @brief  HAL_ADC_ConvCpltCallback
  * @note   This function is called  when a ADC channel gets converted..
  * @param  hadc : ADC handle.
  * @retval None
*/
void HAL_ADC_ConvCpltCallback(ADC_HandleTypeDef *hadc)
{
  uint32_t u32_adc_chanenel_cnt = 0;

  static uint8_t rank_index = 0; // Tracks the current Rank in the sequence

  rank_index++;

  u32_adc_chanenel_cnt = HAL_ADC_GetValue(hadc);

   // A specific configuration
  if ( rank_index == 1)
  {
    vSensor_Data_Sample_Management (1U, &u32_adc_chanenel_cnt, 4);
  }
  else if ( rank_index == 2 )
  {
    vSensor_Data_Sample_Management (3U, &u32_adc_chanenel_cnt, 4);
  }
  else if ( rank_index == 3 )
  {
    vSensor_Data_Sample_Management (8U, &u32_adc_chanenel_cnt, 4);
  }
  else if ( rank_index == 4 )
  {
    vSensor_Data_Sample_Management (9U, &u32_adc_chanenel_cnt, 4);
  }
  else if ( rank_index == 5 )
  {
    vSensor_Data_Sample_Management (11U, &u32_adc_chanenel_cnt, 4);
  }
  else
  {
    rank_index = 0;
  }

  printf("%u \n", u32_adc_chanenel_cnt);

}
/* USER CODE END 4 */

void HAL_TIM_PeriodElapsedCallback(TIM_HandleTypeDef *htim)
{
  if (htim->Instance == TIM6)
  {
    HAL_IncTick();
  }
}

void Error_Handler(void)
{
  __disable_irq();
  while (1)
  {
  }
}
